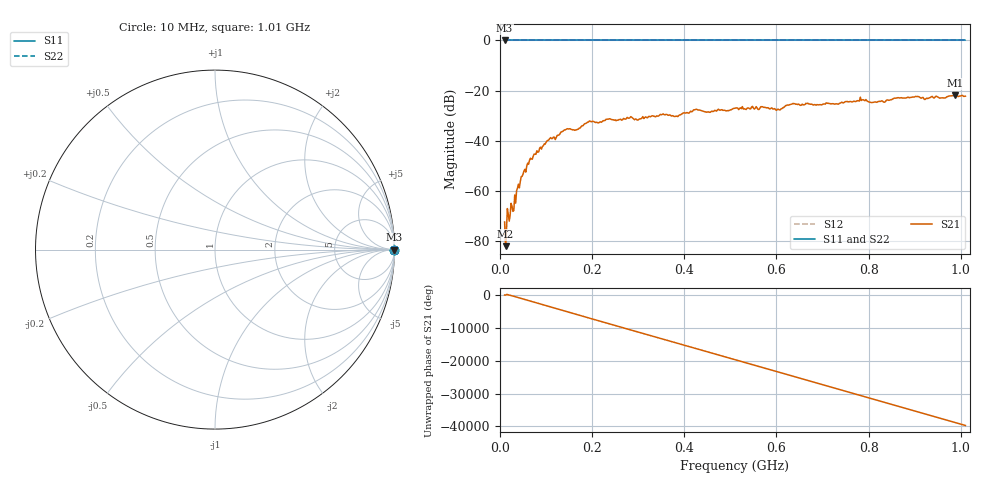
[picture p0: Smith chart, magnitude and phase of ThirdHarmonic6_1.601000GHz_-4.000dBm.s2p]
! 8/16/2025 7:05:07 PM
! C:\ANRITSUVNA\TEMP\TEMP.S2P
! CHANNEL.1
! TR.MEASUREMENT
! RAW.DATA
! RF.CORRECTION.OFF
! AVERAGING.OFF
! IF.BANDWIDTH: 5KHZ
! SWEEPTYPE:  FREQ.SWEEP(Linear)
! Reference Plane Port Info
! PORT:  PORT1  PORT2
! DISTANCE:  0  m  0  m
! TIME:  0  s  0  s
! PHASE.OFFSET:  0  deg.  0  deg.
! LOSS:  0  dB  0  dB
! REF.LOSS:  0  dB  0  dB
! REF.FREQ:  0  Hz  0  Hz
! Power Info
! POWER:  -20  dBm  -20  dBm
! EFF.POWER:  -20  dBm  -20  dBm
! SOURCE.ATTEN:  0  dB  0  dB
! TEST.ATTEN:  0  dB  0  dB
# GHZ S RI R 50.0
! FREQ.GHZ  S11RE  S11IM  S21RE  S21IM  S12RE  S12IM  S22RE  S22IM
!; PortSelection: Port_12
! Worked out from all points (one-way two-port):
!   501 points, 10 MHz to 1.01 GHz, reference 50 ohm
!   highest |S21| = -21.95 dB at 988 MHz (marker M1); lowest = -82.1 dB at 12 MHz (marker M2)
!   lowest |S11| = 0.0 dB at 10 MHz (marker M3)
!   |S11| at or under -10 dB: nowhere
!   |S22| runs from 0.0 to 0.0 dB; largest |S21 - S12| = 1.1
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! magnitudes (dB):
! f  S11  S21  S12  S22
! 10 MHz  0.0  -72.5  0.0  0.0
! 12 MHz  0.0  -82.1  0.0  0.0
! 16 MHz  0.0  -67.1  0.0  0.0
! 20 MHz  0.0  -72.1  0.0  0.0
! 30 MHz  0.0  -67.9  0.0  0.0
! 36 MHz  0.0  -60.0  0.0  0.0
! 50 MHz  0.0  -53.4  0.0  0.0
! 70 MHz  0.0  -47.4  0.0  0.0
! 106 MHz  0.0  -39.7  0.0  0.0
! 142 MHz  0.0  -35.7  0.0  0.0
! 178 MHz  0.0  -34.1  0.0  0.0
! 198 MHz  0.0  -32.4  0.0  0.0
! 344 MHz  0.0  -30.2  0.0  0.0
! 382 MHz  0.0  -30.3  0.0  0.0
! 424 MHz  0.0  -27.6  0.0  0.0
! 510 MHz  0.0  -27.1  0.0  0.0
! 604 MHz  0.0  -27.5  0.0  0.0
! 636 MHz  0.0  -25.1  0.0  0.0
! 678 MHz  0.0  -25.5  0.0  0.0
! 844 MHz  0.0  -23.9  0.0  0.0
! 988 MHz  0.0  -22.0  0.0  0.0
! 1.01 GHz  0.0  -22.2  0.0  0.0
